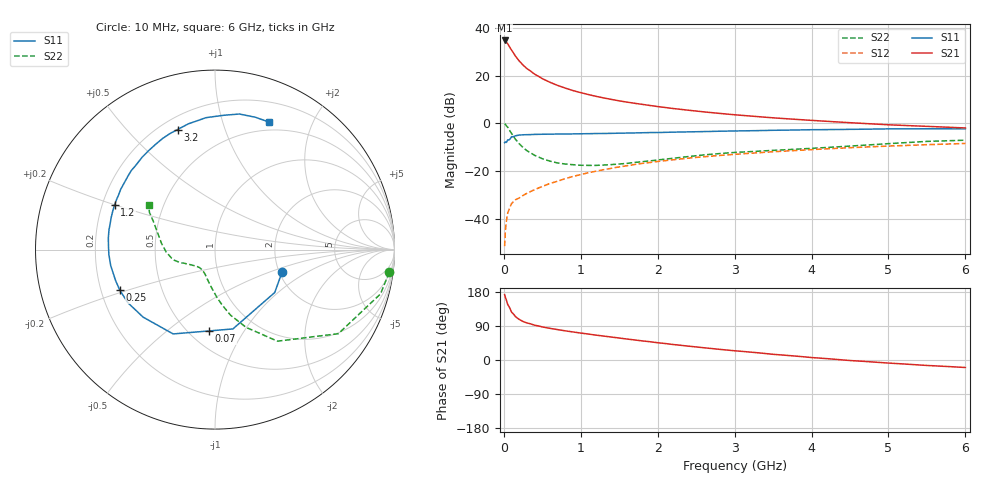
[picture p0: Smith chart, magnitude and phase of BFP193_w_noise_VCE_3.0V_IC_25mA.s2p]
! Infineon Technologies  Discrete & RF Semiconductors
! BFP193
! VCE =  3.0 V,  IC =  25 mA
! Common Emitter S-Parameters:  Jan 2017
# GHz  S  MA  R  50
!  f  S11  S21  S12  S22
! GHz  MAG  ANG  MAG  ANG  MAG  ANG  MAG  ANG
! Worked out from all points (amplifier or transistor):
!   77 points, 10 MHz to 6 GHz, reference 50 ohm
!   highest |S21| = 34.7 dB at 10 MHz (marker M1)
!   |S21| within 3 dB of that: start of sweep to 80.08 MHz
!   unconditionally stable (mu >= 1): 751.4 MHz to 2.546 GHz
!   at 130 MHz: K = 0.45, MSG = 30.9 dB, |S12| = -32.6 dB
!   at 2.2 GHz: K = 1.02, MAG = 10.0 dB, |S12| = -15.2 dB
!   at 6 GHz: K = 0.93, MSG = 3.2 dB, |S12| = -8.4 dB
!   lowest NFmin = 1.12 dB at 450 MHz
!   S11 on the Smith chart (normalised r, x): 10 MHz: 2.08, -0.61; 70 MHz: 0.62, -0.71; 250 MHz: 0.28, -0.19; 1.2 GHz: 0.25, +0.20; 3.2 GHz: 0.27, +0.70; 6 GHz: 0.41, +1.43
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0.01  0.3942 -18.3  54.22 172.5  0.0027 87.1  0.9789 -7.4
0.02  0.4098 -35.7  53.64 165.5  0.0057 81.7  0.9547 -15.0
0.05  0.4531 -77.3  46.3 146.7  0.0131 66.9  0.8316 -34.3
0.07  0.4544 -94.2  40.87 140.0  0.0162 62.3  0.7345 -41.3
0.1  0.5245 -116.4  34.16 126.3  0.0209 57.9  0.6175 -55.7
0.15  0.5495 -136.8  25.57 114.6  0.0252 52.3  0.4669 -68.2
0.2  0.5686 -148.6  20.2 107.1  0.0275 53.2  0.3751 -76.7
0.25  0.5769 -157.0  16.56 101.6  0.0311 53.1  0.3125 -82.5
0.3  0.58 -162.7  13.98 97.8  0.0345 55.3  0.2682 -87.5
0.4  0.5879 -171.3  10.7 91.8  0.041 57.5  0.2145 -94.9
0.5  0.592 -177.5  8.613 87.3  0.0478 59.1  0.1823 -101.4
0.7  0.598 173.5  6.213 80.2  0.0618 62.0  0.1482 -111.7
0.9  0.6018 166.0  4.847 74.0  0.0776 62.0  0.1366 -120.2
1.1  0.6088 159.3  3.999 68.4  0.0928 61.8  0.1322 -127.4
1.2  0.6124 156.1  3.672 65.6  0.1 61.0  0.1322 -130.5
1.6  0.6265 144.5  2.785 55.3  0.1298 57.8  0.1457 -142.1
2.1  0.6489 130.9  2.145 43.4  0.1663 52.4  0.1787 -153.8
3.1  0.697 109.1  1.469 22.7  0.2308 40.5  0.2511 -170.6
3.2  0.7008 107.3  1.426 20.9  0.2366 39.3  0.2561 -172.4
4.1  0.7383 92.4  1.129 5.1  0.2878 29.1  0.3066 171.0
5.1  0.7673 78.5  0.92 -9.3  0.3393 17.8  0.3848 154.5
6  0.7717 67.1  0.802 -19.8  0.3801 7.8  0.4448 146.2
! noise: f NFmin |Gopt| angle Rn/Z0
0.45  1.12  0.3  -176  0.36
0.9  1.19  0.37  -175  0.07
1.9  1.81  0.57  -138  0.16
2.4  2.15  0.62  -122  0.35
